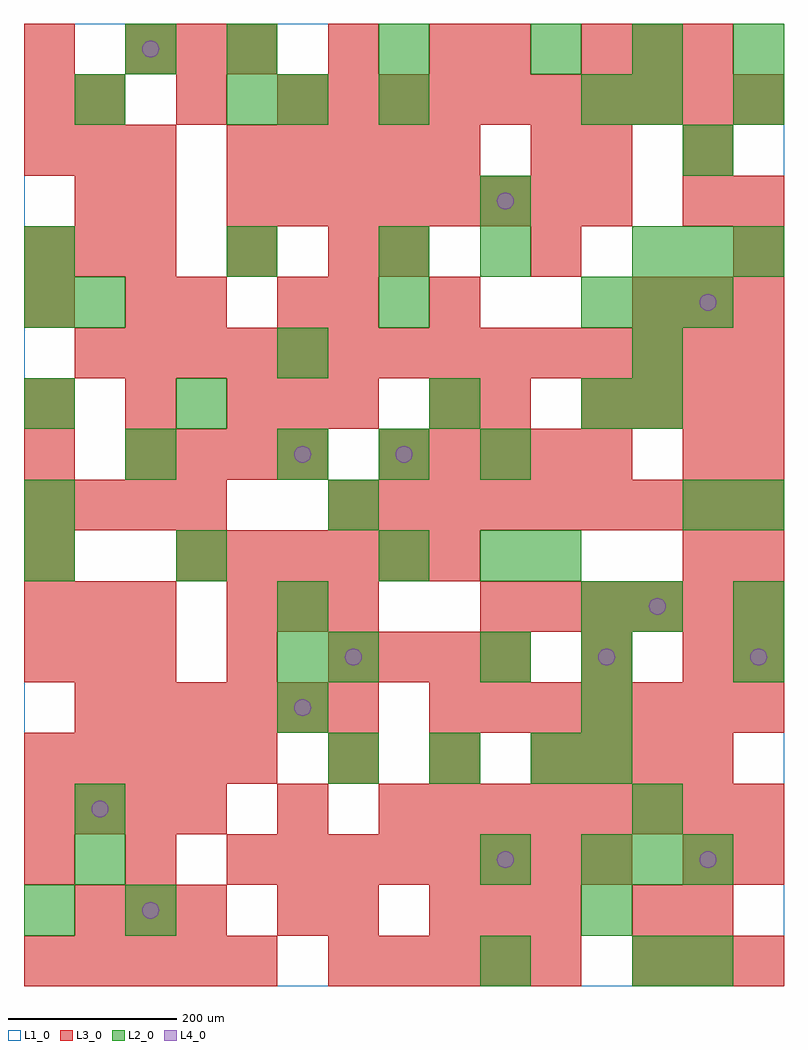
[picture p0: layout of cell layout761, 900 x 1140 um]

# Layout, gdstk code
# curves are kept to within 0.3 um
import gdstk
lib = gdstk.Library(unit=1e-6, precision=1e-09)
def R(c, l, rs):  # rectangles x0, y0, x1, y1
    for r in rs: c.add(gdstk.rectangle(r[:2], r[2:], *l))
def A(c, l, x, y, w, h, nx, ny, dx, dy):  # array of equal rectangles
    R(c, l, [(x+i*dx, y+j*dy, x+i*dx+w, y+j*dy+h) for i in range(nx) for j in range(ny)])
def P(c, l, *ps):  # polygons
    for p in ps: c.add(gdstk.Polygon(p, *l))
L1_0 = (1, 0)
L2_0 = (2, 0)
L3_0 = (3, 0)
L4_0 = (4, 0)

layout761 = lib.new_cell('layout761')
R(layout761, L1_0, [(0,0,900,1140)])
A(layout761, L2_0, 660, 120, 60, 60, 3, 2, 60, 660)
A(layout761, L2_0, 720, 180, 60, 60, 1, 3, 0, 240)
A(layout761, L2_0, 360, 240, 60, 60, 3, 1, 120, 0)
A(layout761, L2_0, 660, 240, 60, 60, 1, 4, 0, 60)
A(layout761, L2_0, 300, 300, 60, 60, 1, 3, 0, 60)
A(layout761, L2_0, 0, 540, 60, 60, 1, 3, 0, 120)
A(layout761, L2_0, 300, 600, 60, 60, 3, 1, 120, 0)
A(layout761, L2_0, 720, 840, 60, 60, 3, 1, 60, 0)
A(layout761, L2_0, 240, 1080, 60, 60, 3, 1, 180, 0)
R(layout761, L2_0, [(540,0,600,60), (720,0,780,60), (780,0,840,60), (0,60,60,120), (120,60,180,120), (660,60,720,120), (60,120,120,180), (540,120,600,180), (60,180,120,240), (360,360,420,420), (540,360,600,420), (840,360,900,420), (840,420,900,480), (0,480,60,540), (180,480,240,540), (420,480,480,540), (540,480,600,540), (600,480,660,540), (360,540,420,600), (780,540,840,600), (840,540,900,600), (120,600,180,660), (180,660,240,720), (480,660,540,720), (660,660,720,720), (300,720,360,780), (720,720,780,780), (60,780,120,840), (420,780,480,840), (0,840,60,900), (240,840,300,900), (420,840,480,900), (540,840,600,900), (540,900,600,960), (780,960,840,1020), (60,1020,120,1080), (240,1020,300,1080), (300,1020,360,1080), (420,1020,480,1080), (660,1020,720,1080), (720,1020,780,1080), (840,1020,900,1080), (120,1080,180,1140), (720,1080,780,1140), (840,1080,900,1140)])
A(layout761, L3_0, 0, 0, 60, 60, 5, 2, 60, 240)
A(layout761, L3_0, 360, 0, 60, 60, 5, 1, 60, 0)
A(layout761, L3_0, 720, 0, 60, 60, 3, 2, 60, 780)
A(layout761, L3_0, 60, 60, 60, 60, 3, 1, 60, 0)
A(layout761, L3_0, 480, 60, 60, 60, 3, 1, 60, 0)
A(layout761, L3_0, 0, 120, 60, 60, 3, 2, 120, 540)
A(layout761, L3_0, 300, 120, 60, 60, 7, 1, 60, 0)
A(layout761, L3_0, 0, 180, 60, 60, 4, 2, 60, 360)
A(layout761, L3_0, 420, 180, 60, 60, 8, 1, 60, 0)
A(layout761, L3_0, 360, 240, 60, 60, 3, 1, 120, 0)
A(layout761, L3_0, 660, 240, 60, 60, 3, 2, 60, 840)
A(layout761, L3_0, 60, 300, 60, 60, 6, 1, 60, 0)
A(layout761, L3_0, 480, 300, 60, 60, 7, 1, 60, 0)
A(layout761, L3_0, 0, 360, 60, 60, 3, 2, 60, 60)
A(layout761, L3_0, 360, 360, 60, 60, 4, 1, 60, 0)
A(layout761, L3_0, 780, 360, 60, 60, 1, 3, 0, 120)
A(layout761, L3_0, 840, 360, 60, 60, 1, 3, 0, 120)
A(layout761, L3_0, 240, 420, 60, 60, 3, 1, 60, 0)
A(layout761, L3_0, 540, 420, 60, 60, 6, 1, 60, 0)
A(layout761, L3_0, 180, 480, 60, 60, 6, 1, 60, 0)
A(layout761, L3_0, 360, 540, 60, 60, 9, 2, 60, 480)
A(layout761, L3_0, 120, 600, 60, 60, 4, 1, 60, 0)
A(layout761, L3_0, 420, 600, 60, 60, 5, 1, 60, 0)
A(layout761, L3_0, 660, 660, 60, 60, 4, 1, 60, 0)
A(layout761, L3_0, 60, 720, 60, 60, 14, 1, 60, 0)
A(layout761, L3_0, 0, 840, 60, 60, 3, 2, 60, 120)
A(layout761, L3_0, 240, 900, 60, 60, 8, 1, 60, 0)
A(layout761, L3_0, 240, 960, 60, 60, 5, 1, 60, 0)
A(layout761, L3_0, 60, 1020, 60, 60, 3, 1, 120, 0)
A(layout761, L3_0, 120, 1080, 60, 60, 3, 1, 60, 0)
R(layout761, L3_0, [(300,60,360,120), (360,60,420,120), (720,60,780,120), (780,60,840,120), (780,120,840,180), (840,120,900,180), (300,180,360,240), (240,360,300,420), (660,360,720,420), (0,480,60,540), (0,600,60,660), (300,660,360,720), (360,660,420,720), (480,660,540,720), (540,660,600,720), (0,780,60,840), (120,780,180,840), (180,780,240,840), (300,780,360,840), (360,780,420,840), (480,780,540,840), (240,840,300,900), (360,840,420,900), (420,840,480,900), (600,840,660,900), (840,840,900,900), (60,900,120,960), (120,900,180,960), (780,900,840,960), (840,900,900,960), (600,960,660,1020), (660,960,720,1020), (780,960,840,1020), (0,1020,60,1080), (0,1080,60,1140), (360,1080,420,1140), (480,1080,540,1140), (540,1080,600,1140)])
P(layout761, L4_0, [(100,210),(99.239,213.827),(97.071,217.071),(93.827,219.239),(90,220),(86.173,219.239),(82.929,217.071),(80.761,213.827),(80,210),(80.761,206.173),(82.929,202.929),(86.173,200.761),(90,200),(93.827,200.761),(97.071,202.929),(99.239,206.173)],
  [(160,90),(159.239,93.827),(157.071,97.071),(153.827,99.239),(150,100),(146.173,99.239),(142.929,97.071),(140.761,93.827),(140,90),(140.761,86.173),(142.929,82.929),(146.173,80.761),(150,80),(153.827,80.761),(157.071,82.929),(159.239,86.173)],
  [(160,1110),(159.239,1113.827),(157.071,1117.071),(153.827,1119.239),(150,1120),(146.173,1119.239),(142.929,1117.071),(140.761,1113.827),(140,1110),(140.761,1106.173),(142.929,1102.929),(146.173,1100.761),(150,1100),(153.827,1100.761),(157.071,1102.929),(159.239,1106.173)],
  [(340,330),(339.239,333.827),(337.071,337.071),(333.827,339.239),(330,340),(326.173,339.239),(322.929,337.071),(320.761,333.827),(320,330),(320.761,326.173),(322.929,322.929),(326.173,320.761),(330,320),(333.827,320.761),(337.071,322.929),(339.239,326.173)],
  [(340,630),(339.239,633.827),(337.071,637.071),(333.827,639.239),(330,640),(326.173,639.239),(322.929,637.071),(320.761,633.827),(320,630),(320.761,626.173),(322.929,622.929),(326.173,620.761),(330,620),(333.827,620.761),(337.071,622.929),(339.239,626.173)],
  [(400,390),(399.239,393.827),(397.071,397.071),(393.827,399.239),(390,400),(386.173,399.239),(382.929,397.071),(380.761,393.827),(380,390),(380.761,386.173),(382.929,382.929),(386.173,380.761),(390,380),(393.827,380.761),(397.071,382.929),(399.239,386.173)],
  [(460,630),(459.239,633.827),(457.071,637.071),(453.827,639.239),(450,640),(446.173,639.239),(442.929,637.071),(440.761,633.827),(440,630),(440.761,626.173),(442.929,622.929),(446.173,620.761),(450,620),(453.827,620.761),(457.071,622.929),(459.239,626.173)],
  [(580,150),(579.239,153.827),(577.071,157.071),(573.827,159.239),(570,160),(566.173,159.239),(562.929,157.071),(560.761,153.827),(560,150),(560.761,146.173),(562.929,142.929),(566.173,140.761),(570,140),(573.827,140.761),(577.071,142.929),(579.239,146.173)],
  [(580,930),(579.239,933.827),(577.071,937.071),(573.827,939.239),(570,940),(566.173,939.239),(562.929,937.071),(560.761,933.827),(560,930),(560.761,926.173),(562.929,922.929),(566.173,920.761),(570,920),(573.827,920.761),(577.071,922.929),(579.239,926.173)],
  [(700,390),(699.239,393.827),(697.071,397.071),(693.827,399.239),(690,400),(686.173,399.239),(682.929,397.071),(680.761,393.827),(680,390),(680.761,386.173),(682.929,382.929),(686.173,380.761),(690,380),(693.827,380.761),(697.071,382.929),(699.239,386.173)],
  [(760,450),(759.239,453.827),(757.071,457.071),(753.827,459.239),(750,460),(746.173,459.239),(742.929,457.071),(740.761,453.827),(740,450),(740.761,446.173),(742.929,442.929),(746.173,440.761),(750,440),(753.827,440.761),(757.071,442.929),(759.239,446.173)],
  [(820,150),(819.239,153.827),(817.071,157.071),(813.827,159.239),(810,160),(806.173,159.239),(802.929,157.071),(800.761,153.827),(800,150),(800.761,146.173),(802.929,142.929),(806.173,140.761),(810,140),(813.827,140.761),(817.071,142.929),(819.239,146.173)],
  [(820,810),(819.239,813.827),(817.071,817.071),(813.827,819.239),(810,820),(806.173,819.239),(802.929,817.071),(800.761,813.827),(800,810),(800.761,806.173),(802.929,802.929),(806.173,800.761),(810,800),(813.827,800.761),(817.071,802.929),(819.239,806.173)],
  [(880,390),(879.239,393.827),(877.071,397.071),(873.827,399.239),(870,400),(866.173,399.239),(862.929,397.071),(860.761,393.827),(860,390),(860.761,386.173),(862.929,382.929),(866.173,380.761),(870,380),(873.827,380.761),(877.071,382.929),(879.239,386.173)])

lib.write_gds('layout761.gds')
